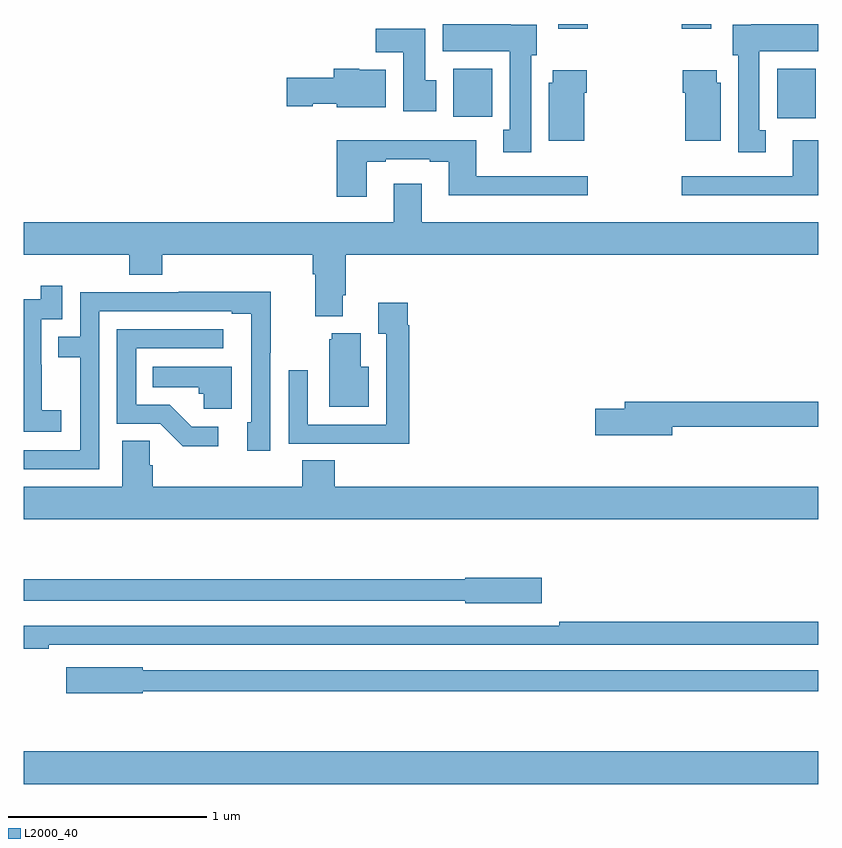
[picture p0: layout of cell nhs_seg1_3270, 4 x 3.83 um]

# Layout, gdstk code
import gdstk
lib = gdstk.Library(unit=1e-6, precision=1e-09)
def R(c, l, rs):  # rectangles x0, y0, x1, y1
    for r in rs: c.add(gdstk.rectangle(r[:2], r[2:], *l))
def P(c, l, *ps):  # polygons
    for p in ps: c.add(gdstk.Polygon(p, *l))
L2000_40 = (2000, 40)

nhs_seg1_3270 = lib.new_cell('nhs_seg1_3270')
R(nhs_seg1_3270, L2000_40, [(287,578.372,291,578.536), (290.793,581.724,290.989,581.974), (289.163,581.732,289.36,581.974), (289.691,582.174,289.839,582.199), (290.314,582.174,290.461,582.199)])
P(nhs_seg1_3270, L2000_40, [(290.737,581.665),(290.704,581.665),(290.704,582.062),(291,582.062),(291,582.199),(290.663,582.199),(290.663,582.196),(290.57,582.196),(290.57,582.042),(290.597,582.042),(290.597,581.553),(290.737,581.553)],
  [(289.555,582.042),(289.582,582.042),(289.582,582.196),(289.453,582.196),(289.453,582.199),(289.109,582.199),(289.109,582.062),(289.448,582.062),(289.448,581.666),(289.415,581.666),(289.415,581.553),(289.555,581.553)],
  [(289.078,581.916),(289.021,581.916),(289.021,582.174),(288.772,582.174),(288.772,582.056),(288.911,582.056),(288.911,581.76),(289.078,581.76)],
  [(288.823,581.968),(288.69,581.968),(288.69,581.974),(288.56,581.974),(288.56,581.928),(288.324,581.928),(288.324,581.786),(288.456,581.786),(288.456,581.798),(288.576,581.798),(288.576,581.78),(288.823,581.78)],
  [(290.509,581.904),(290.488,581.904),(290.488,581.965),(290.318,581.965),(290.318,581.852),(290.33,581.852),(290.33,581.612),(290.509,581.612)],
  [(289.822,581.852),(289.835,581.852),(289.835,581.965),(289.664,581.965),(289.664,581.904),(289.643,581.904),(289.643,581.612),(289.822,581.612)],
  [(291,581.614),(290.873,581.614),(290.873,581.433),(290.313,581.433),(290.313,581.336),(291,581.336)],
  [(288.727,581.505),(288.823,581.505),(288.823,581.517),(289.043,581.517),(289.043,581.505),(289.139,581.505),(289.139,581.336),(289.84,581.336),(289.84,581.433),(289.279,581.433),(289.279,581.614),(288.575,581.614),(288.575,581.328),(288.727,581.328)],
  [(288.607,580.834),(288.62,580.834),(288.62,581.036),(291,581.036),(291,581.2),(289.003,581.2),(289.003,581.395),(288.863,581.395),(288.863,581.2),(287,581.2),(287,581.036),(287.531,581.036),(287.531,580.937),(287.696,580.937),(287.696,581.036),(288.455,581.036),(288.455,580.94),(288.467,580.94),(288.467,580.727),(288.607,580.727)],
  [(287.188,580.255),(287.09,580.255),(287.09,580.484),(287.088,580.484),(287.088,580.713),(287.193,580.713),(287.193,580.882),(287.085,580.882),(287.085,580.812),(287,580.812),(287,580.145),(287.188,580.145)],
  [(287.379,580.752),(288.047,580.752),(288.047,580.74),(288.144,580.74),(288.144,580.194),(288.125,580.194),(288.125,580.05),(288.24,580.05),(288.24,580.543),(288.243,580.543),(288.243,580.85),(287.779,580.85),(287.779,580.848),(287.283,580.848),(287.283,580.623),(287.173,580.623),(287.173,580.522),(287.283,580.522),(287.283,580.053),(287,580.053),(287,579.957),(287.379,579.957)],
  [(288.941,580.682),(288.934,580.682),(288.934,580.795),(288.785,580.795),(288.785,580.639),(288.825,580.639),(288.825,580.182),(288.429,580.182),(288.429,580.456),(288.333,580.456),(288.333,580.086),(288.649,580.086),(288.649,580.085),(288.941,580.085)],
  [(287.98,580.17),(287.845,580.17),(287.734,580.281),(287.565,580.281),(287.565,580.566),(288.004,580.566),(288.004,580.662),(287.469,580.662),(287.469,580.185),(287.688,580.185),(287.801,580.073),(287.98,580.073)],
  [(288.736,580.474),(288.697,580.474),(288.697,580.642),(288.551,580.642),(288.551,580.611),(288.539,580.611),(288.539,580.271),(288.736,580.271)],
  [(288.046,580.474),(287.65,580.474),(287.65,580.37),(287.881,580.37),(287.881,580.338),(287.907,580.338),(287.907,580.262),(288.046,580.262)],
  [(290.266,580.17),(291,580.17),(291,580.298),(290.027,580.298),(290.027,580.262),(289.878,580.262),(289.878,580.127),(290.266,580.127)],
  [(291,579.868),(288.566,579.868),(288.566,580.001),(288.401,580.001),(288.401,579.868),(287.648,579.868),(287.648,579.977),(287.634,579.977),(287.634,580.1),(287.495,580.1),(287.495,579.868),(287,579.868),(287,579.704),(291,579.704)],
  [(289.609,579.411),(289.224,579.411),(289.224,579.403),(287,579.403),(287,579.294),(289.224,579.294),(289.224,579.281),(289.609,579.281)],
  [(287.126,579.072),(291,579.072),(291,579.188),(289.696,579.188),(289.696,579.168),(287,579.168),(287,579.052),(287.126,579.052)],
  [(287.598,578.838),(291,578.838),(291,578.946),(287.598,578.946),(287.598,578.959),(287.214,578.959),(287.214,578.83),(287.598,578.83)])

lib.write_gds('nhs_seg1_3270.gds')
